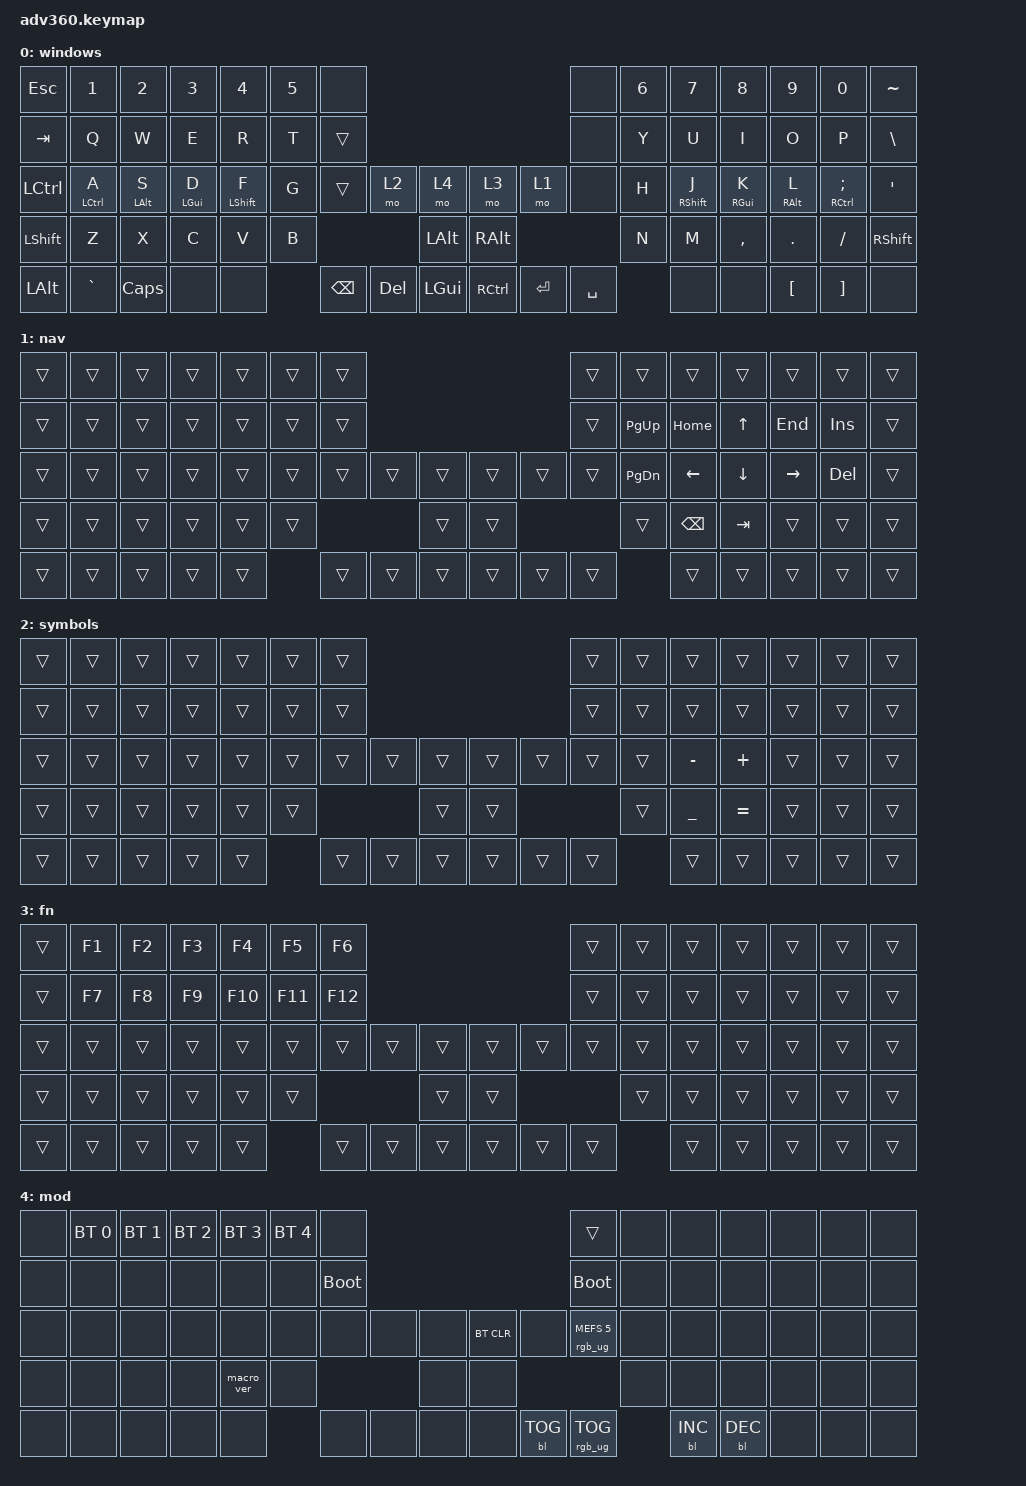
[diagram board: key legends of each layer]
#include <behaviors.dtsi>
#include <dt-bindings/zmk/backlight.h>
#include <dt-bindings/zmk/bt.h>
#include <dt-bindings/zmk/keys.h>
#include <dt-bindings/zmk/rgb.h>

#define LHYP LS(LC(LA(LGUI)))

#define LHYPK(key) LS(LC(LA(LG(key))))

#define LMEH LS(LC(LALT))

#define LMEHK(key) LS(LC(LA(key)))

#define RHYP RS(RC(RA(RGUI)))

#define RHYPK(key) RS(RC(RA(RG(key))))

#define RMEH RS(RC(RALT))

#define RMEHK(key) RS(RC(RA(key)))

/ {
    behaviors {
        #include "version.dtsi"
      #ifndef VERSION_MACRO

        macro_ver: macro_ver {
            compatible = "zmk,behavior-macro";
            label = "macro_version";
            #binding-cells = <0>;
            bindings = <>;
        };

        hyper: hyper {
            compatible = "zmk,behavior-macro";
            #binding-cells = <0>;
            bindings = <&kp RIGHT_ALT &kp RIGHT_CONTROL &kp RIGHT_SHIFT &kp RIGHT_GUI>;
            label = "HYPER";
        };

        #endif

        hrml: hrml {
            compatible = "zmk,behavior-hold-tap";
            label = "HRML";
            bindings = <&kp>, <&kp>;

            #binding-cells = <2>;
            flavor = "balanced";
            tapping-term-ms = <220>;
            quick-tap-ms = <175>;
            require-prior-idle-ms = <150>;
            hold-trigger-key-positions = <40 41 42 43 7 8 9 10 11 12 13 21 22 23 24 25 26 27 39 40 41 42 43 44 45 54 55 56 57 58 59 71 72 73 74 75 37 38 53 68 69 70>;
            hold-trigger-on-release;
        };

        hrmr: hrmr {
            compatible = "zmk,behavior-hold-tap";
            label = "HRMR";
            bindings = <&kp>, <&kp>;

            #binding-cells = <2>;
            tapping-term-ms = <220>;
            quick-tap-ms = <175>;
            require-prior-idle-ms = <150>;
            hold-trigger-key-positions = <0 1 14 15 16 17 18 19 20 28 29 30 31 32 33 34 46 47 48 49 50 51 60 61 62 63 64 2 4 5 6 3>;
            flavor = "balanced";
            hold-trigger-on-release;
        };
    };

    combos {
        compatible = "zmk,combos";

        underscore {
            bindings = <&kp UNDER>;
            key-positions = <40 54>;
        };

        minus {
            bindings = <&kp MINUS>;
            key-positions = <55 41>;
        };

        equal {
            bindings = <&kp EQUAL>;
            key-positions = <42 56>;
        };

        plus {
            bindings = <&kp KP_PLUS>;
            key-positions = <57 43>;
        };
    };

    macros {
    };

    keymap {
        compatible = "zmk,keymap";

        windows {
            bindings = <
&kp ESC         &kp N1         &kp N2            &kp N3            &kp N4              &kp N5  &none                                                                  &none      &kp N6  &kp N7               &kp N8             &kp N9             &kp N0            &kp TILDE
&kp TAB         &kp Q          &kp W             &kp E             &kp R               &kp T   &trans                                                                 &none      &kp Y   &kp U                &kp I              &kp O              &kp P             &kp BSLH
&kp LCTRL       &hrml LCTRL A  &hrml LEFT_ALT S  &hrml LEFT_GUI D  &hrml LEFT_SHIFT F  &kp G   &trans         &mo 2       &mo 4             &mo 3          &mo 1      &none      &kp H   &hrmr RIGHT_SHIFT J  &hrmr RIGHT_GUI K  &hrmr RIGHT_ALT L  &hrmr RCTRL SEMI  &kp SQT
&kp LEFT_SHIFT  &kp Z          &kp X             &kp C             &kp V               &kp B                              &kp LEFT_ALT      &kp RIGHT_ALT                        &kp N   &kp M                &kp COMMA          &kp DOT            &kp FSLH          &kp RIGHT_SHIFT
&kp LEFT_ALT    &kp GRAVE      &kp CAPS          &none             &none                       &kp BACKSPACE  &kp DELETE  &kp LEFT_GUI      &kp RCTRL      &kp ENTER  &kp SPACE          &none                &none              &kp LBKT           &kp RBKT          &none
            >;
        };

        nav {
            bindings = <
&trans  &trans  &trans  &trans  &trans  &trans  &trans                                      &trans  &trans         &trans          &trans          &trans     &trans      &trans
&trans  &trans  &trans  &trans  &trans  &trans  &trans                                      &trans  &kp PG_UP      &kp HOME        &kp UP_ARROW    &kp END    &kp INSERT  &trans
&trans  &trans  &trans  &trans  &trans  &trans  &trans  &trans  &trans      &trans  &trans  &trans  &kp PAGE_DOWN  &kp LEFT_ARROW  &kp DOWN_ARROW  &kp RIGHT  &kp DELETE  &trans
&trans  &trans  &trans  &trans  &trans  &trans                  &trans      &trans                  &trans         &kp BACKSPACE   &kp TAB         &trans     &trans      &trans
&trans  &trans  &trans  &trans  &trans          &trans  &trans  &trans      &trans  &trans  &trans                 &trans          &trans          &trans     &trans      &trans
            >;
        };

        symbols {
            bindings = <
&trans  &trans  &trans  &trans  &trans  &trans  &trans                                      &trans  &trans  &trans     &trans     &trans  &trans  &trans
&trans  &trans  &trans  &trans  &trans  &trans  &trans                                      &trans  &trans  &trans     &trans     &trans  &trans  &trans
&trans  &trans  &trans  &trans  &trans  &trans  &trans  &trans  &trans      &trans  &trans  &trans  &trans  &kp MINUS  &kp PLUS   &trans  &trans  &trans
&trans  &trans  &trans  &trans  &trans  &trans                  &trans      &trans                  &trans  &kp UNDER  &kp EQUAL  &trans  &trans  &trans
&trans  &trans  &trans  &trans  &trans          &trans  &trans  &trans      &trans  &trans  &trans          &trans     &trans     &trans  &trans  &trans
            >;
        };

        fn {
            bindings = <
&trans  &kp F1  &kp F2  &kp F3  &kp F4   &kp F5   &kp F6                                       &trans  &trans  &trans  &trans  &trans  &trans  &trans
&trans  &kp F7  &kp F8  &kp F9  &kp F10  &kp F11  &kp F12                                      &trans  &trans  &trans  &trans  &trans  &trans  &trans
&trans  &trans  &trans  &trans  &trans   &trans   &trans   &trans  &trans      &trans  &trans  &trans  &trans  &trans  &trans  &trans  &trans  &trans
&trans  &trans  &trans  &trans  &trans   &trans                    &trans      &trans                  &trans  &trans  &trans  &trans  &trans  &trans
&trans  &trans  &trans  &trans  &trans            &trans   &trans  &trans      &trans  &trans  &trans          &trans  &trans  &trans  &trans  &trans
            >;
        };

        mod {
            bindings = <
&none  &bt BT_SEL 0  &bt BT_SEL 1  &bt BT_SEL 2  &bt BT_SEL 3  &bt BT_SEL 4  &none                                                  &trans                  &none  &none       &none       &none  &none  &none
&none  &none         &none         &none         &none         &none         &bootloader                                            &bootloader             &none  &none       &none       &none  &none  &none
&none  &none         &none         &none         &none         &none         &none        &none  &none      &bt BT_CLR  &none       &rgb_ug RGB_MEFS_CMD 5  &none  &none       &none       &none  &none  &none
&none  &none         &none         &none         &macro_ver    &none                             &none      &none                                           &none  &none       &none       &none  &none  &none
&none  &none         &none         &none         &none                       &none        &none  &none      &none       &bl BL_TOG  &rgb_ug RGB_TOG                &bl BL_INC  &bl BL_DEC  &none  &none  &none
            >;
        };
    };
};
